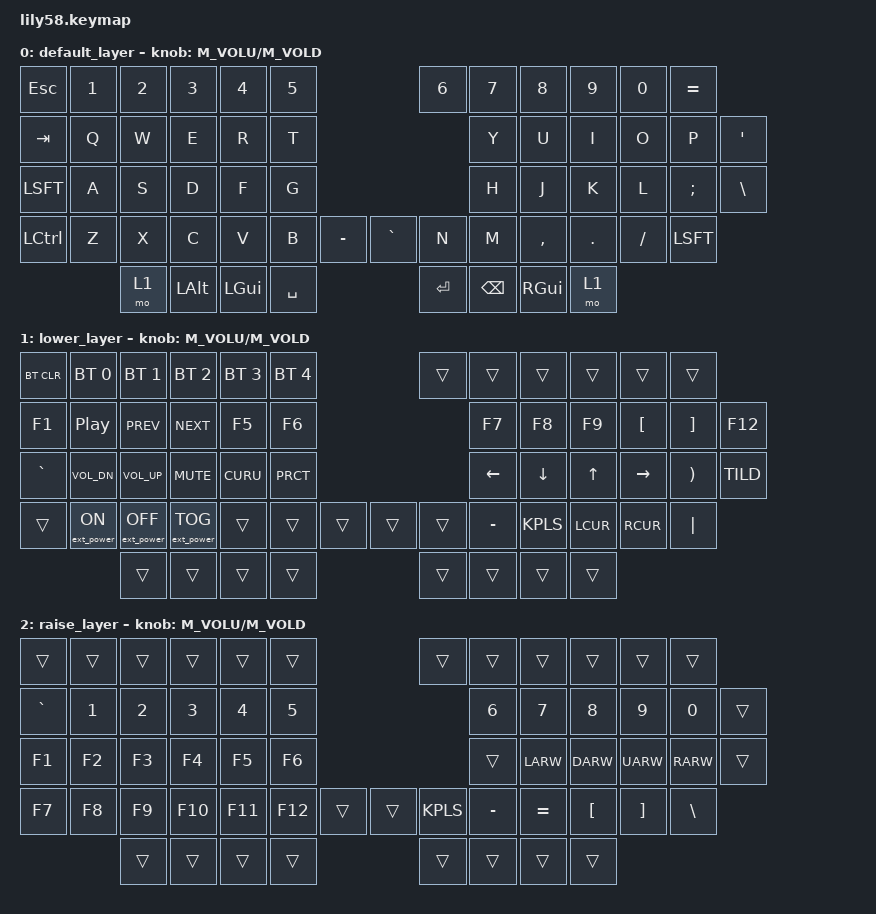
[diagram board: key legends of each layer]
/*
 * Copyright (c) 2020 The ZMK Contributors
 *
 * SPDX-License-Identifier: MIT
 */

#include <behaviors.dtsi>
#include <dt-bindings/zmk/keys.h>
#include <dt-bindings/zmk/bt.h>
#include <dt-bindings/zmk/ext_power.h>

/ {
	keymap {
		compatible = "zmk,keymap";

		default_layer {
// ------------------------------------------------------------------------------------------------------------
// |  ESC  |  1  |  2  |  3   |  4   |  5   |                   |  6   |  7    |  8    |  9   |   0   |   `   |
// |  TAB  |  Q  |  W  |  E   |  R   |  T   |                   |  Y   |  U    |  I    |  O   |   P   |   -   |
// |  CTRL |  A  |  S  |  D   |  F   |  G   |                   |  H   |  J    |  K    |  L   |   ;   |   '   |
// | SHIFT |  Z  |  X  |  C   |  V   |  B   |   "["  |  |  "]"  |  N   |  M    |  ,    |  .   |   /   | SHIFT |
//                     | ALT  | GUI  | LOWER|  SPACE |  | ENTER | RAISE| BSPC  | GUI   |
			bindings = <
&kp ESC  &kp NUM_1 &kp NUM_2 &kp NUM_3 &kp NUM_4 &kp NUM_5                    &kp NUM_6 &kp NUM_7 &kp NUM_8 &kp NUM_9 &kp NUM_0 &kp EQUAL
&kp TAB  &kp Q     &kp W     &kp E     &kp R     &kp T                        &kp Y     &kp U     &kp I     &kp O     &kp P     &kp QUOT
&kp LSFT &kp A     &kp S     &kp D     &kp F     &kp G                        &kp H     &kp J     &kp K     &kp L     &kp SCLN  &kp BSLH
&kp LCTL &kp Z     &kp X     &kp C     &kp V     &kp B   &kp MINUS  &kp GRAVE   &kp N     &kp M     &kp CMMA  &kp DOT   &kp FSLH  &kp LSFT
                   &mo 1  &kp LALT &kp LGUI      &kp SPC                      &kp RET   &kp BSPC     &kp RGUI   &mo 1
			>;

			sensor-bindings = <&inc_dec_kp M_VOLU M_VOLD>;
		};

		lower_layer {
// ------------------------------------------------------------------------------------------------------------
// | BTCLR | BT1 | BT2 |  BT3 |  BT4 |  BT5 |                   |      |       |       |      |       |       |
// |  F1   |  F2 |  F3 |  F4  |  F5  |  F6  |                   |  F7  |  F8   |  F9   |  F10 |  F11  |  F12  |
// |   `   |  !  |  @  |  #   |  $   |  %   |                   |  ^   |  &    |  *    |  (   |   )   |   ~   |
// |       |     |     |      |      |      |        |  |       |      |  _    |  +    |  {   |   }   |  "|"  |
//                     |      |      |      |        |  |       |      |       |       |
			bindings = <
&bt BT_CLR &bt BT_SEL 0      &bt BT_SEL 1       &bt BT_SEL 2 &bt BT_SEL 3 &bt BT_SEL 4                 &trans    &trans    &trans    &trans    &trans    &trans
&kp F1     &kp C_PP            &kp C_PREV             &kp C_NEXT       &kp F5       &kp F6                       &kp F7    &kp F8    &kp F9    &kp LBKT   &kp RBKT   &kp F12
&kp GRAV   &kp C_VOL_DN          &kp C_VOL_UP           &kp C_MUTE     &kp CURU     &kp PRCT                     &kp LEFT  &kp DOWN  &kp UP  &kp RIGHT  &kp RPRN  &kp TILD
&trans  &ext_power EP_ON &ext_power EP_OFF &ext_power EP_TOG &trans       &trans    &trans   &trans    &trans    &kp MINUS &kp KPLS  &kp LCUR  &kp RCUR  &kp PIPE
                             &trans             &trans       &trans       &trans                       &trans    &trans    &trans    &trans
			>;

			sensor-bindings = <&inc_dec_kp M_VOLU M_VOLD>;
		};

		raise_layer {
// ------------------------------------------------------------------------------------------------------------
// |       |     |     |      |      |      |                   |      |       |       |      |       |       |
// |   `   |  1  |  2  |  3   |  4   |  5   |                   |  6   |   7   |   8   |  9   |   0   |       |
// |   F1  |  F2 |  F3 |  F4  |  F5  |  F6  |                   |      |   <-  |   ^   |  v   |  ->   |       |
// |   F7  |  F8 |  F9 |  F10 |  F11 |  F12 |        |  |       |  +   |   -   |   =   |  [   |   ]   |   \   |
//                     |      |      |      |        |  |       |      |       |       |
			bindings = <
&trans   &trans    &trans    &trans    &trans    &trans                       &trans    &trans    &trans    &trans    &trans    &trans
&kp GRAV &kp NUM_1 &kp NUM_2 &kp NUM_3 &kp NUM_4 &kp NUM_5                    &kp NUM_6 &kp NUM_7 &kp NUM_8 &kp NUM_9 &kp NUM_0 &trans
&kp F1   &kp F2    &kp F3    &kp F4    &kp F5    &kp F6                       &trans    &kp LARW  &kp DARW  &kp UARW  &kp RARW  &trans
&kp F7   &kp F8    &kp F9    &kp F10   &kp F11   &kp F12   &trans   &trans    &kp KPLS  &kp MINUS &kp EQL   &kp LBKT  &kp RBKT  &kp BSLH
                   &trans    &trans    &trans    &trans                       &trans    &trans    &trans    &trans
			>;

			sensor-bindings = <&inc_dec_kp M_VOLU M_VOLD>;
		};
	};
};
